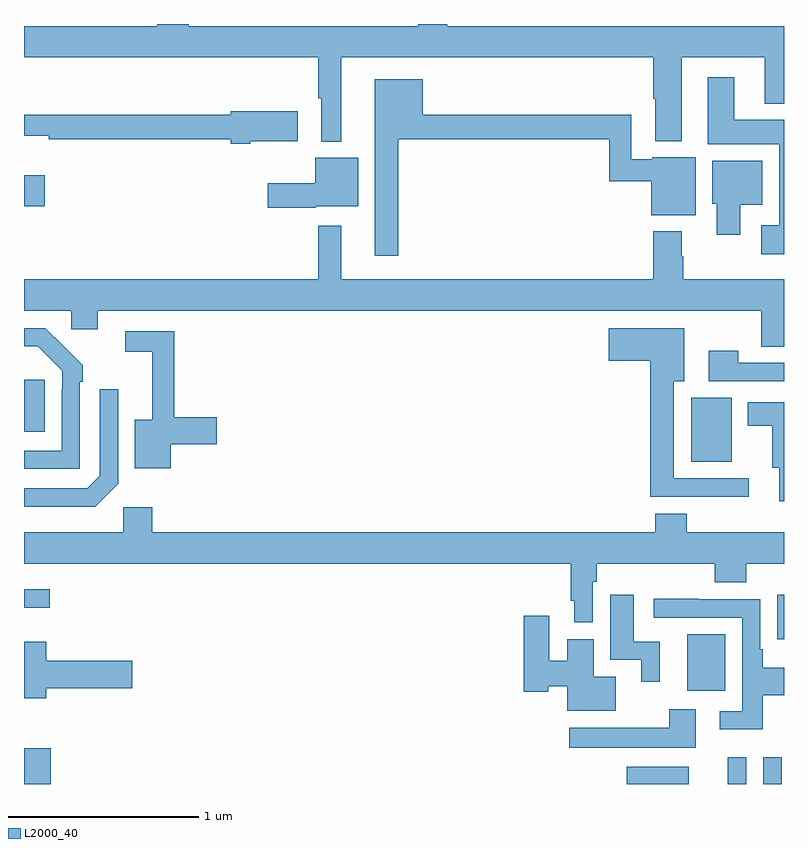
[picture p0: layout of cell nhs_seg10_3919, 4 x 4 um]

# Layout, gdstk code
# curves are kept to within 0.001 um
import gdstk
lib = gdstk.Library(unit=1e-6, precision=1e-09)
def R(c, l, rs):  # rectangles x0, y0, x1, y1
    for r in rs: c.add(gdstk.rectangle(r[:2], r[2:], *l))
def P(c, l, *ps):  # polygons
    for p in ps: c.add(gdstk.Polygon(p, *l))
L2000_40 = (2000, 40)

nhs_seg10_3919 = lib.new_cell('nhs_seg10_3919')
R(nhs_seg10_3919, L2000_40, [(327,1288.5,327.14,1288.687), (330.173,1288.5,330.499,1288.591), (330.704,1288.5,330.801,1288.642), (330.891,1288.5,330.989,1288.642), (330.491,1288.991,330.691,1289.287), (330.965,1289.261,331,1289.497), (327,1289.427,327.136,1289.524), (330.512,1290.197,330.724,1290.532), (327,1290.353,327.109,1290.628), (327,1291.54,327.109,1291.705)])
P(nhs_seg10_3919, L2000_40, [(328.669,1292.324),(330.311,1292.324),(330.311,1292.107),(330.323,1292.107),(330.323,1291.883),(330.463,1291.883),(330.463,1292.324),(330.899,1292.324),(330.899,1292.081),(331,1292.081),(331,1292.488),(329.228,1292.488),(329.228,1292.5),(329.076,1292.5),(329.076,1292.488),(327.866,1292.488),(327.866,1292.5),(327.701,1292.5),(327.701,1292.488),(327,1292.488),(327,1292.324),(328.548,1292.324),(328.548,1292.108),(328.565,1292.108),(328.565,1291.88),(328.669,1291.88)],
  [(331,1291.996),(330.739,1291.996),(330.739,1292.221),(330.599,1292.221),(330.599,1291.868),(330.974,1291.868),(330.974,1291.441),(330.879,1291.441),(330.879,1291.289),(331,1291.289)],
  [(328.969,1291.894),(330.079,1291.894),(330.079,1291.672),(330.302,1291.672),(330.302,1291.493),(330.535,1291.493),(330.535,1291.798),(330.306,1291.798),(330.306,1291.788),(330.195,1291.788),(330.195,1292.023),(329.098,1292.023),(329.098,1292.209),(328.847,1292.209),(328.847,1291.281),(328.969,1291.281)],
  [(328.192,1291.883),(328.441,1291.883),(328.441,1292.041),(328.088,1292.041),(328.088,1292.023),(327,1292.023),(327,1291.913),(327.129,1291.913),(327.129,1291.894),(328.088,1291.894),(328.088,1291.871),(328.192,1291.871)],
  [(328.536,1291.541),(328.759,1291.541),(328.759,1291.795),(328.532,1291.795),(328.532,1291.663),(328.284,1291.663),(328.284,1291.534),(328.536,1291.534)],
  [(330.769,1291.55),(330.886,1291.55),(330.886,1291.78),(330.623,1291.78),(330.623,1291.554),(330.647,1291.554),(330.647,1291.392),(330.769,1291.392)],
  [(331,1291.156),(330.471,1291.156),(330.471,1291.277),(330.463,1291.277),(330.463,1291.408),(330.311,1291.408),(330.311,1291.156),(328.669,1291.156),(328.669,1291.438),(328.548,1291.438),(328.548,1291.156),(327,1291.156),(327,1290.992),(327.249,1290.992),(327.249,1290.894),(327.388,1290.894),(327.388,1290.992),(330.88,1290.992),(330.88,1290.802),(331,1290.802)],
  [(327.294,1290.617),(327.309,1290.617),(327.309,1290.705),(327.112,1290.9),(327,1290.9),(327,1290.804),(327.073,1290.804),(327.201,1290.675),(327.201,1290.575),(327.198,1290.575),(327.198,1290.255),(327,1290.255),(327,1290.159),(327.294,1290.159)],
  [(330.814,1290.108),(330.421,1290.108),(330.421,1290.62),(330.475,1290.62),(330.475,1290.898),(330.078,1290.898),(330.078,1290.728),(330.296,1290.728),(330.296,1290.011),(330.814,1290.011)],
  [(327.772,1290.289),(328.015,1290.289),(328.015,1290.431),(327.791,1290.431),(327.791,1290.882),(327.534,1290.882),(327.534,1290.774),(327.674,1290.774),(327.674,1290.418),(327.584,1290.418),(327.584,1290.161),(327.772,1290.161)],
  [(331,1290.717),(330.759,1290.717),(330.759,1290.781),(330.603,1290.781),(330.603,1290.621),(331,1290.621)],
  [(327.495,1290.081),(327.495,1290.577),(327.399,1290.577),(327.399,1290.123),(327.333,1290.057),(327,1290.057),(327,1289.96),(327.374,1289.96)],
  [(331,1290.508),(330.809,1290.508),(330.809,1290.386),(330.938,1290.386),(330.938,1290.164),(330.974,1290.164),(330.974,1289.988),(331,1289.988)],
  [(329.994,1289.564),(330.014,1289.564),(330.014,1289.66),(330.635,1289.66),(330.635,1289.561),(330.8,1289.561),(330.8,1289.66),(331,1289.66),(331,1289.824),(330.488,1289.824),(330.488,1289.923),(330.323,1289.923),(330.323,1289.824),(327.674,1289.824),(327.674,1289.956),(327.522,1289.956),(327.522,1289.824),(327,1289.824),(327,1289.66),(329.878,1289.66),(329.878,1289.464),(329.897,1289.464),(329.897,1289.352),(329.994,1289.352)],
  [(330.346,1289.25),(330.208,1289.25),(330.208,1289.497),(330.086,1289.497),(330.086,1289.154),(330.248,1289.154),(330.248,1289.037),(330.346,1289.037)],
  [(330.889,1288.966),(331,1288.966),(331,1289.113),(330.889,1289.113),(330.889,1289.209),(330.876,1289.209),(330.876,1289.472),(330.551,1289.472),(330.551,1289.474),(330.315,1289.474),(330.315,1289.376),(330.78,1289.376),(330.78,1288.884),(330.663,1288.884),(330.663,1288.787),(330.889,1288.787)],
  [(330.115,1289.065),(329.998,1289.065),(329.998,1289.263),(329.858,1289.263),(329.858,1289.15),(329.764,1289.15),(329.764,1289.386),(329.63,1289.386),(329.63,1288.985),(329.76,1288.985),(329.76,1289.015),(329.858,1289.015),(329.858,1288.886),(330.115,1288.886)],
  [(327.118,1289.003),(327.571,1289.003),(327.571,1289.15),(327.118,1289.15),(327.118,1289.248),(327,1289.248),(327,1288.952),(327.118,1288.952)],
  [(330.535,1288.894),(330.395,1288.894),(330.395,1288.795),(329.871,1288.795),(329.871,1288.691),(330.535,1288.691)])

lib.write_gds('nhs_seg10_3919.gds')
